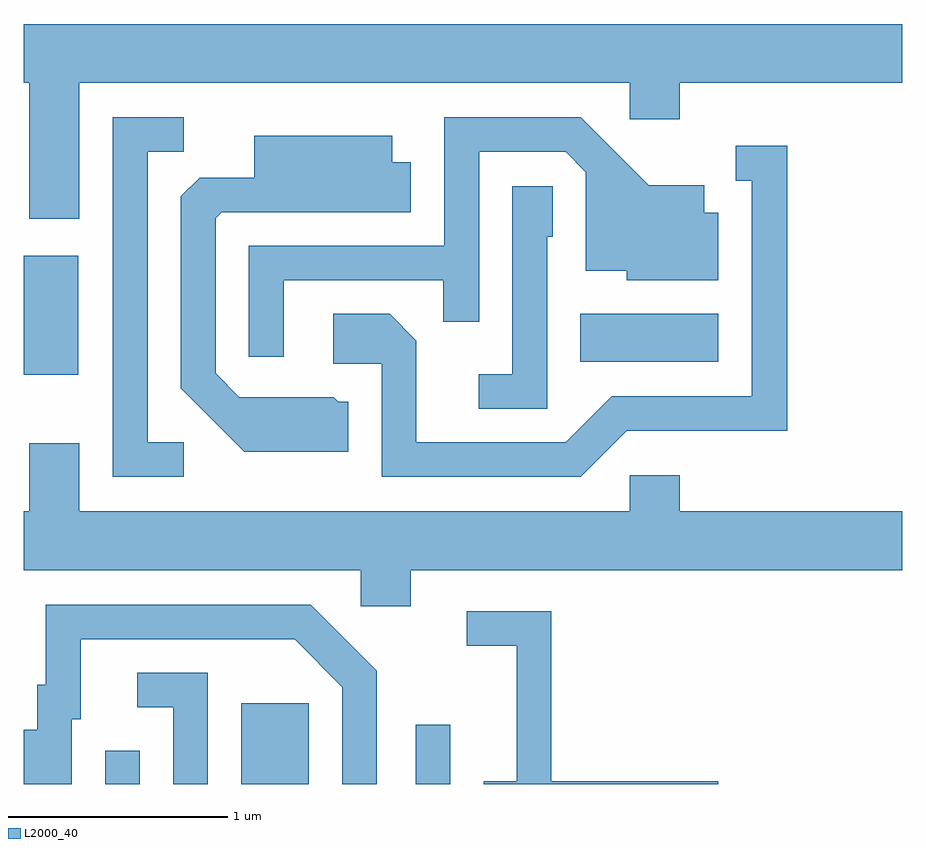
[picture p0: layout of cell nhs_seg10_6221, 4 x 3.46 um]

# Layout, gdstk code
import gdstk
lib = gdstk.Library(unit=1e-6, precision=1e-09)
def R(c, l, rs):  # rectangles x0, y0, x1, y1
    for r in rs: c.add(gdstk.rectangle(r[:2], r[2:], *l))
def P(c, l, *ps):  # polygons
    for p in ps: c.add(gdstk.Polygon(p, *l))
L2000_40 = (2000, 40)

nhs_seg10_6221 = lib.new_cell('nhs_seg10_6221')
R(nhs_seg10_6221, L2000_40, [(369.981,2088.522,370.139,2088.673), (370.601,2088.522,370.909,2088.889), (371.396,2088.522,371.554,2088.793), (369.611,2090.386,369.859,2090.929), (372.146,2090.446,372.774,2090.664)])
P(nhs_seg10_6221, L2000_40, [(369.864,2091.716),(372.371,2091.716),(372.371,2091.551),(372.599,2091.551),(372.599,2091.716),(373.611,2091.716),(373.611,2091.984),(369.611,2091.984),(369.611,2091.716),(369.636,2091.716),(369.636,2091.096),(369.864,2091.096)],
  [(370.338,2090.079),(370.174,2090.079),(370.174,2091.401),(370.338,2091.401),(370.338,2091.559),(370.016,2091.559),(370.016,2089.921),(370.338,2089.921)],
  [(370.794,2090.816),(371.521,2090.816),(371.521,2090.628),(371.684,2090.628),(371.684,2091.401),(372.079,2091.401),(372.171,2091.309),(372.171,2090.861),(372.356,2090.861),(372.356,2090.816),(372.774,2090.816),(372.774,2091.124),(372.709,2091.124),(372.709,2091.249),(372.457,2091.249),(372.147,2091.559),(371.526,2091.559),(371.526,2090.974),(370.636,2090.974),(370.636,2090.468),(370.794,2090.468)],
  [(371.089,2090.264),(371.042,2090.264),(371.022,2090.284),(370.592,2090.284),(370.484,2090.392),(370.484,2091.099),(370.512,2091.126),(371.374,2091.126),(371.374,2091.354),(371.289,2091.354),(371.289,2091.474),(370.661,2091.474),(370.661,2091.284),(370.412,2091.284),(370.326,2091.199),(370.326,2090.324),(370.614,2090.036),(371.089,2090.036)],
  [(372.357,2090.131),(373.089,2090.131),(373.089,2091.429),(372.853,2091.429),(372.853,2091.271),(372.926,2091.271),(372.926,2090.289),(372.289,2090.289),(372.079,2090.079),(371.399,2090.079),(371.399,2090.542),(371.277,2090.664),(371.021,2090.664),(371.021,2090.436),(371.241,2090.436),(371.241,2089.921),(372.147,2089.921)],
  [(371.994,2091.016),(372.019,2091.016),(372.019,2091.244),(371.836,2091.244),(371.836,2090.389),(371.683,2090.389),(371.683,2090.231),(371.994,2090.231)],
  [(371.146,2089.331),(371.374,2089.331),(371.374,2089.496),(373.611,2089.496),(373.611,2089.764),(372.599,2089.764),(372.599,2089.929),(372.371,2089.929),(372.371,2089.764),(369.864,2089.764),(369.864,2090.074),(369.636,2090.074),(369.636,2089.764),(369.611,2089.764),(369.611,2089.496),(371.146,2089.496)],
  [(369.829,2088.816),(369.869,2088.816),(369.869,2089.181),(370.844,2089.181),(371.061,2088.963),(371.061,2088.522),(371.219,2088.522),(371.219,2089.037),(370.917,2089.339),(369.711,2089.339),(369.711,2088.974),(369.671,2088.974),(369.671,2088.769),(369.611,2088.769),(369.611,2088.522),(369.829,2088.522)],
  [(372.774,2088.534),(372.014,2088.534),(372.014,2089.309),(371.628,2089.309),(371.628,2089.151),(371.856,2089.151),(371.856,2088.534),(371.706,2088.534),(371.706,2088.522),(372.774,2088.522)],
  [(370.449,2089.029),(370.128,2089.029),(370.128,2088.871),(370.291,2088.871),(370.291,2088.522),(370.449,2088.522)])

lib.write_gds('nhs_seg10_6221.gds')
